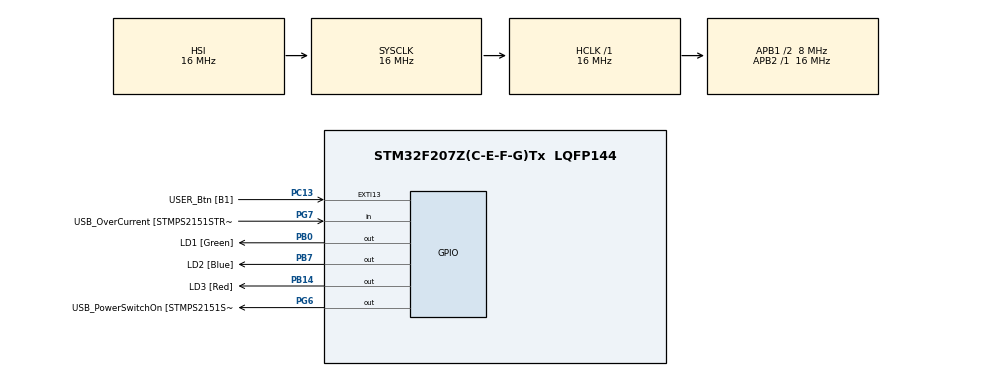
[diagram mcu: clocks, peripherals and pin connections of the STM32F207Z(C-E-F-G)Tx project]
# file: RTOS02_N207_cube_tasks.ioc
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Mcu.Family=STM32F2
PH0-OSC_IN.Signal=RCC_OSC_IN
VP_SYS_VS_tim6.Mode=TIM6
RCC.CortexFreq_Value=16000000
PG6.Signal=GPIO_Output
NVIC.TIM6_DAC_IRQn=true\:0\:0\:false\:false\:true\:false\:true
PB14.GPIO_Label=LD3 [Red]
PG6.GPIO_Label=USB_PowerSwitchOn [STMPS2151STR_EN]
PA14.GPIO_Label=TCK
RCC.SYSCLKSourceVirtual=RCC_SYSCLKSOURCE_PLLCLK
PB0.GPIO_Label=LD1 [Green]
PC13.GPIO_Label=USER_Btn [B1]
PB13.GPIO_Label=RMII_TXD1 [LAN8742A-CZ-TR_TXD1]
PB13.Signal=ETH_TXD1
PG13.Signal=ETH_TXD0
PG11.Signal=ETH_TX_EN
ProjectManager.StackSize=0x400
PA12.Signal=USB_OTG_FS_DP
RCC.HCLKFreq_Value=16000000
RCC.APB2TimFreq_Value=16000000
PD8.Signal=USART3_TX
RCC.AHBFreq_Value=16000000
PH0-OSC_IN.GPIO_Label=MCO [STM32F103CBT6_PA8]
RCC.HSE_VALUE=8000000
RCC.PLLMUL=RCC_PLL_MUL9
PC4.GPIO_Label=RMII_RXD0 [LAN8742A-CZ-TR_RXD0]
PA10.GPIO_Label=USB_ID
PB7.Signal=GPIO_Output
PA8.Signal=USB_OTG_FS_SOF
PB7.GPIO_Label=LD2 [Blue]
Mcu.Package=LQFP144
NVIC.TimeBase=TIM6_DAC_IRQn
PA2.GPIO_Label=RMII_MDIO [LAN8742A-CZ-TR_MDIO]
NVIC.TimeBaseIP=TIM6
PA10.Signal=USB_OTG_FS_ID
RCC.APB1TimFreq_Value=16000000
PG11.GPIO_Label=RMII_TX_EN [LAN8742A-CZ-TR_TXEN]
PC5.Signal=ETH_RXD1
PB3.GPIO_Label=SWO
PG7.Signal=GPIO_Input
PD9.GPIO_Label=STLK_TX [STM32F103CBT6_PA2]
PC13.Signal=GPXTI13
PA9.GPIO_Label=USB_VBUS
PC4.Signal=ETH_RXD0
PA11.GPIO_Label=USB_DM
PD9.Signal=USART3_RX
RCC.APB1CLKDivider=RCC_HCLK_DIV2
PC14-OSC32_IN.Signal=RCC_OSC32_IN
PG13.GPIO_Label=RMII_TXD0 [LAN8742A-CZ-TR_TXD0]
PA12.GPIO_Label=USB_DP
PD8.GPIO_Label=STLK_RX [STM32F103CBT6_PA3]
PA13.Signal=SYS_JTMS-SWDIO
PA8.GPIO_Label=USB_SOF [TP1]
ProjectManager.TargetToolchain=STM32CubeIDE
PA9.Signal=USB_OTG_FS_VBUS
RCC.USBFreq_Value=48000000
RCC.LSE_VALUE=32768
PC15-OSC32_OUT.Signal=RCC_OSC32_OUT
PA1.Signal=ETH_REF_CLK
PB14.Signal=GPIO_Output
board=NUCLEO-F207ZG
RCC.VCOOutputFreq_Value=192000000
RCC.APB2Freq_Value=16000000
RCC.PRESCALERUSB=RCC_USBCLKSOURCE_PLL_DIV1_5
PG7.GPIO_Label=USB_OverCurrent [STMPS2151STR_FAULT]
PA1.GPIO_Label=RMII_REF_CLK [LAN8742A-CZ-TR_REFCLK0]
PC1.GPIO_Label=RMII_MDC [LAN8742A-CZ-TR_MDC]
PH1-OSC_OUT.Signal=RCC_OSC_OUT
Mcu.Name=STM32F207Z(C-E-F-G)Tx
PA2.Signal=ETH_MDIO
PA13.GPIO_Label=TMS
RCC.48MHZClocksFreq_Value=48000000
PB3.Signal=SYS_JTDO-SWO
RCC.SYSCLKFreq_VALUE=16000000
PA7.GPIO_Label=RMII_CRS_DV [LAN8742A-CZ-TR_CRS_DV]
PC5.GPIO_Label=RMII_RXD1 [LAN8742A-CZ-TR_RXD1]
PA11.Signal=USB_OTG_FS_DM
PA14.Signal=SYS_JTCK-SWCLK
ProjectManager.HeapSize=0x200
RCC.HSI_VALUE=16000000
NVIC.PriorityGroup=NVIC_PRIORITYGROUP_4
RCC.APB1Freq_Value=8000000
PB0.Signal=GPIO_Output
PC1.Signal=ETH_MDC
PA7.Signal=ETH_CRS_DV

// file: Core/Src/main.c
/* USER CODE BEGIN Header */
/**
  ******************************************************************************
  * @file           : main.c
  * @brief          : Main program body
  ******************************************************************************
  * @attention
  *
  * <h2><center>&copy; Copyright (c) 2021 STMicroelectronics.
  * All rights reserved.</center></h2>
  *
  * This software component is licensed by ST under BSD 3-Clause license,
  * the "License"; You may not use this file except in compliance with the
  * License. You may obtain a copy of the License at:
  *                        opensource.org/licenses/BSD-3-Clause
  *
  ******************************************************************************
  */
/* USER CODE END Header */
#include "main.h"

/* USER CODE BEGIN Includes */

#include <stdio.h>
#include "FreeRTOS.h"
#include "task.h"

/* USER CODE END Includes */

void SystemClock_Config(void);
static void MX_GPIO_Init(void);
/* USER CODE BEGIN PFP */

static void task1_handler(void* parameters);
static void task2_handler(void* parameters);

/* USER CODE END PFP */

int main(void)
{
  /* USER CODE BEGIN 1 */

	TaskHandle_t task1_handle;
	TaskHandle_t task2_handle;

	BaseType_t status;

  /* USER CODE END 1 */

  /* MCU Configuration--------------------------------------------------------*/

  /* Reset of all peripherals, Initializes the Flash interface and the Systick. */
  HAL_Init();

  /* Configure the system clock */
  SystemClock_Config();

  /* Initialize all configured peripherals */
  MX_GPIO_Init();
  /* USER CODE BEGIN 2 */

  status = xTaskCreate(task1_handler, "Task-1", 200, "Hello world from task-1", 2, &task1_handle);

  configASSERT(status == pdPASS);

  status = xTaskCreate(task2_handler, "Task-2", 200, "Hello world from task-2", 2, &task2_handle);

  configASSERT(status == pdPASS);

  // start the freeRTOS scheduler
  vTaskStartScheduler();

  // if the control comes here, then launch of the scheduler
  // has failed  due to insuficient memory in heap

  /* USER CODE END 2 */

  /* Infinite loop */
  while (1)
  {

  }
}

void SystemClock_Config(void)
{
  RCC_OscInitTypeDef RCC_OscInitStruct = {0};
  RCC_ClkInitTypeDef RCC_ClkInitStruct = {0};

  /** Initializes the RCC Oscillators according to the specified parameters
  * in the RCC_OscInitTypeDef structure.
  */
  RCC_OscInitStruct.OscillatorType = RCC_OSCILLATORTYPE_HSI;
  RCC_OscInitStruct.HSIState = RCC_HSI_ON;
  RCC_OscInitStruct.HSICalibrationValue = RCC_HSICALIBRATION_DEFAULT;
  RCC_OscInitStruct.PLL.PLLState = RCC_PLL_NONE;
  if (HAL_RCC_OscConfig(&RCC_OscInitStruct) != HAL_OK)
  {
    Error_Handler();
  }
  /** Initializes the CPU, AHB and APB buses clocks
  */
  RCC_ClkInitStruct.ClockType = RCC_CLOCKTYPE_HCLK|RCC_CLOCKTYPE_SYSCLK
                              |RCC_CLOCKTYPE_PCLK1|RCC_CLOCKTYPE_PCLK2;
  RCC_ClkInitStruct.SYSCLKSource = RCC_SYSCLKSOURCE_HSI;
  RCC_ClkInitStruct.AHBCLKDivider = RCC_SYSCLK_DIV1;
  RCC_ClkInitStruct.APB1CLKDivider = RCC_HCLK_DIV2;
  RCC_ClkInitStruct.APB2CLKDivider = RCC_HCLK_DIV1;

  if (HAL_RCC_ClockConfig(&RCC_ClkInitStruct, FLASH_LATENCY_0) != HAL_OK)
  {
    Error_Handler();
  }
}

static void MX_GPIO_Init(void)
{
  GPIO_InitTypeDef GPIO_InitStruct = {0};

  /* GPIO Ports Clock Enable */
  __HAL_RCC_GPIOC_CLK_ENABLE();
  __HAL_RCC_GPIOH_CLK_ENABLE();
  __HAL_RCC_GPIOA_CLK_ENABLE();
  __HAL_RCC_GPIOB_CLK_ENABLE();
  __HAL_RCC_GPIOD_CLK_ENABLE();
  __HAL_RCC_GPIOG_CLK_ENABLE();

  /*Configure GPIO pin Output Level */
  HAL_GPIO_WritePin(GPIOB, LD1_Pin|LD3_Pin|LD2_Pin, GPIO_PIN_RESET);

  /*Configure GPIO pin Output Level */
  HAL_GPIO_WritePin(USB_PowerSwitchOn_GPIO_Port, USB_PowerSwitchOn_Pin, GPIO_PIN_RESET);

  /*Configure GPIO pin : USER_Btn_Pin */
  GPIO_InitStruct.Pin = USER_Btn_Pin;
  GPIO_InitStruct.Mode = GPIO_MODE_IT_RISING;
  GPIO_InitStruct.Pull = GPIO_NOPULL;
  HAL_GPIO_Init(USER_Btn_GPIO_Port, &GPIO_InitStruct);

  /*Configure GPIO pins : RMII_MDC_Pin RMII_RXD0_Pin RMII_RXD1_Pin */
  GPIO_InitStruct.Pin = RMII_MDC_Pin|RMII_RXD0_Pin|RMII_RXD1_Pin;
  GPIO_InitStruct.Mode = GPIO_MODE_AF_PP;
  GPIO_InitStruct.Pull = GPIO_NOPULL;
  GPIO_InitStruct.Speed = GPIO_SPEED_FREQ_VERY_HIGH;
  GPIO_InitStruct.Alternate = GPIO_AF11_ETH;
  HAL_GPIO_Init(GPIOC, &GPIO_InitStruct);

  /*Configure GPIO pins : RMII_REF_CLK_Pin RMII_MDIO_Pin RMII_CRS_DV_Pin */
  GPIO_InitStruct.Pin = RMII_REF_CLK_Pin|RMII_MDIO_Pin|RMII_CRS_DV_Pin;
  GPIO_InitStruct.Mode = GPIO_MODE_AF_PP;
  GPIO_InitStruct.Pull = GPIO_NOPULL;
  GPIO_InitStruct.Speed = GPIO_SPEED_FREQ_VERY_HIGH;
  GPIO_InitStruct.Alternate = GPIO_AF11_ETH;
  HAL_GPIO_Init(GPIOA, &GPIO_InitStruct);

  /*Configure GPIO pins : LD1_Pin LD3_Pin LD2_Pin */
  GPIO_InitStruct.Pin = LD1_Pin|LD3_Pin|LD2_Pin;
  GPIO_InitStruct.Mode = GPIO_MODE_OUTPUT_PP;
  GPIO_InitStruct.Pull = GPIO_NOPULL;
  GPIO_InitStruct.Speed = GPIO_SPEED_FREQ_LOW;
  HAL_GPIO_Init(GPIOB, &GPIO_InitStruct);

  /*Configure GPIO pin : RMII_TXD1_Pin */
  GPIO_InitStruct.Pin = RMII_TXD1_Pin;
  GPIO_InitStruct.Mode = GPIO_MODE_AF_PP;
  GPIO_InitStruct.Pull = GPIO_NOPULL;
  GPIO_InitStruct.Speed = GPIO_SPEED_FREQ_VERY_HIGH;
  GPIO_InitStruct.Alternate = GPIO_AF11_ETH;
  HAL_GPIO_Init(RMII_TXD1_GPIO_Port, &GPIO_InitStruct);

  /*Configure GPIO pins : STLK_RX_Pin STLK_TX_Pin */
  GPIO_InitStruct.Pin = STLK_RX_Pin|STLK_TX_Pin;
  GPIO_InitStruct.Mode = GPIO_MODE_AF_PP;
  GPIO_InitStruct.Pull = GPIO_NOPULL;
  GPIO_InitStruct.Speed = GPIO_SPEED_FREQ_VERY_HIGH;
  GPIO_InitStruct.Alternate = GPIO_AF7_USART3;
  HAL_GPIO_Init(GPIOD, &GPIO_InitStruct);

  /*Configure GPIO pin : USB_PowerSwitchOn_Pin */
  GPIO_InitStruct.Pin = USB_PowerSwitchOn_Pin;
  GPIO_InitStruct.Mode = GPIO_MODE_OUTPUT_PP;
  GPIO_InitStruct.Pull = GPIO_NOPULL;
  GPIO_InitStruct.Speed = GPIO_SPEED_FREQ_LOW;
  HAL_GPIO_Init(USB_PowerSwitchOn_GPIO_Port, &GPIO_InitStruct);

  /*Configure GPIO pin : USB_OverCurrent_Pin */
  GPIO_InitStruct.Pin = USB_OverCurrent_Pin;
  GPIO_InitStruct.Mode = GPIO_MODE_INPUT;
  GPIO_InitStruct.Pull = GPIO_NOPULL;
  HAL_GPIO_Init(USB_OverCurrent_GPIO_Port, &GPIO_InitStruct);

  /*Configure GPIO pins : USB_SOF_Pin USB_ID_Pin USB_DM_Pin USB_DP_Pin */
  GPIO_InitStruct.Pin = USB_SOF_Pin|USB_ID_Pin|USB_DM_Pin|USB_DP_Pin;
  GPIO_InitStruct.Mode = GPIO_MODE_AF_PP;
  GPIO_InitStruct.Pull = GPIO_NOPULL;
  GPIO_InitStruct.Speed = GPIO_SPEED_FREQ_VERY_HIGH;
  GPIO_InitStruct.Alternate = GPIO_AF10_OTG_FS;
  HAL_GPIO_Init(GPIOA, &GPIO_InitStruct);

  /*Configure GPIO pin : USB_VBUS_Pin */
  GPIO_InitStruct.Pin = USB_VBUS_Pin;
  GPIO_InitStruct.Mode = GPIO_MODE_INPUT;
  GPIO_InitStruct.Pull = GPIO_NOPULL;
  HAL_GPIO_Init(USB_VBUS_GPIO_Port, &GPIO_InitStruct);

  /*Configure GPIO pins : RMII_TX_EN_Pin RMII_TXD0_Pin */
  GPIO_InitStruct.Pin = RMII_TX_EN_Pin|RMII_TXD0_Pin;
  GPIO_InitStruct.Mode = GPIO_MODE_AF_PP;
  GPIO_InitStruct.Pull = GPIO_NOPULL;
  GPIO_InitStruct.Speed = GPIO_SPEED_FREQ_VERY_HIGH;
  GPIO_InitStruct.Alternate = GPIO_AF11_ETH;
  HAL_GPIO_Init(GPIOG, &GPIO_InitStruct);

}

/* USER CODE BEGIN 4 */

static void task1_handler(void* parameters)
{
	while(1)
	{
		printf("%s\n", (char*)parameters);
		taskYIELD();
	}
}

static void task2_handler(void* parameters)
{
	while(1)
	{
		printf("%s\n", (char*)parameters);
		taskYIELD();
	}
}

/* USER CODE END 4 */

 /**
  * @brief  Period elapsed callback in non blocking mode
  * @note   This function is called  when TIM6 interrupt took place, inside
  * HAL_TIM_IRQHandler(). It makes a direct call to HAL_IncTick() to increment
  * a global variable "uwTick" used as application time base.
  * @param  htim : TIM handle
  * @retval None
  */
void HAL_TIM_PeriodElapsedCallback(TIM_HandleTypeDef *htim)
{
  if (htim->Instance == TIM6) {
    HAL_IncTick();
  }
}

void Error_Handler(void)
{
}

/************************ (C) COPYRIGHT STMicroelectronics *****END OF FILE****/
